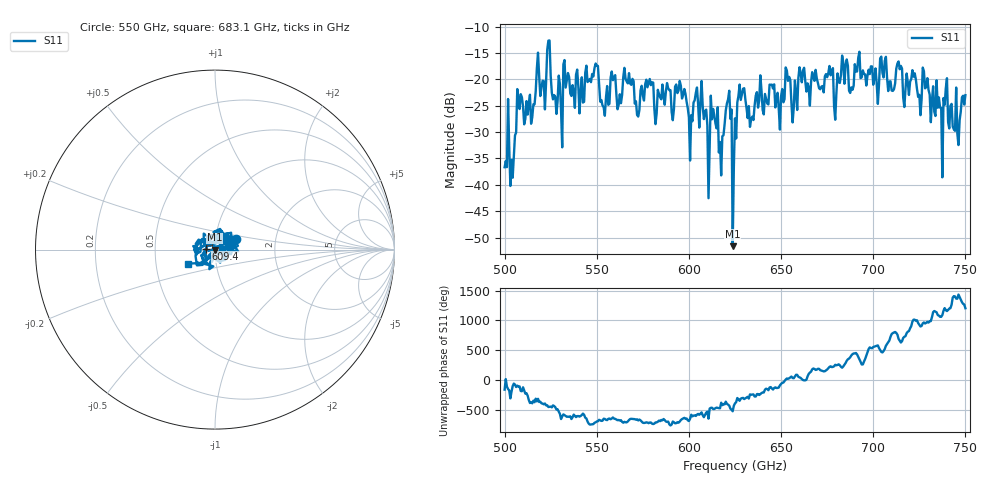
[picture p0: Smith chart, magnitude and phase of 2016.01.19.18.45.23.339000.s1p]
!Created with skrf (http://scikit-rf.org).
# GHz S RI R 50.0
!freq ReS11 ImS11
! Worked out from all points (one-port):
!   401 points, 500 GHz to 750 GHz, reference 50 ohm
!   lowest |S11| = -51.6 dB at 623.8 GHz (marker M1), VSWR 1.01, Z = 49.8 - j0.0808 ohm
!   |S11| at or under -10 dB: start of sweep to end of sweep
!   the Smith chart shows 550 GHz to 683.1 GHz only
!   S11 on the Smith chart (normalised r, x): 550 GHz: 1.26, +0.16; 609.4 GHz: 0.90, +0.01; 683.1 GHz: 0.73, -0.12
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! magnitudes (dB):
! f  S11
! 500 GHz  -36.7
! 504.4 GHz  -38.7
! 508.1 GHz  -25.6
! 515.6 GHz  -24.7
! 523.8 GHz  -12.7
! 526.9 GHz  -23.0
! 531.2 GHz  -32.9
! 550 GHz  -17.4
! 553.1 GHz  -25.0
! 558.8 GHz  -20.2
! 562.5 GHz  -22.8
! 593.8 GHz  -22.6
! 609.4 GHz  -25.7
! 613.1 GHz  -25.6
! 617.5 GHz  -38.2
! 621.9 GHz  -22.2
! 623.8 GHz  -51.6
! 625 GHz  -27.4
! 626.2 GHz  -24.4
! 628.8 GHz  -22.9
! 633.8 GHz  -27.6
! 653.8 GHz  -20.3
! 656.2 GHz  -28.2
! 683.1 GHz  -15.5
! 687.5 GHz  -22.6
! 718.8 GHz  -20.6
! 745 GHz  -21.6
! 750 GHz  -23.0
